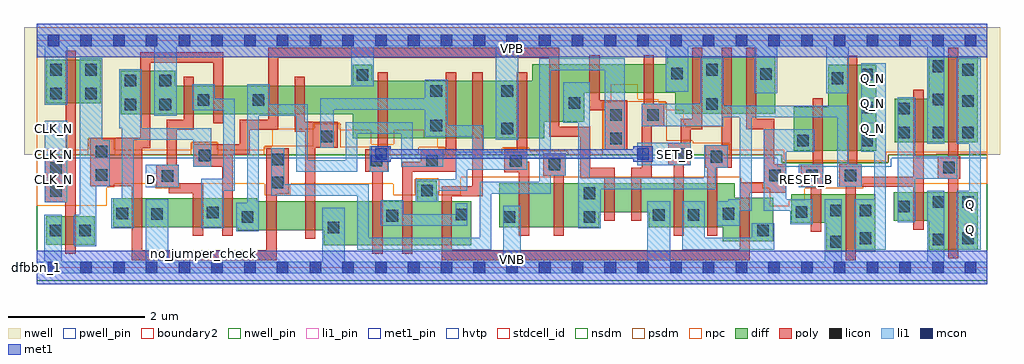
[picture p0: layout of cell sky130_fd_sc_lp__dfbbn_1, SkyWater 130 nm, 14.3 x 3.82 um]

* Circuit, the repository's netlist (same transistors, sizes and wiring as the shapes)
* Copyright 2020 The SkyWater PDK Authors
*
* Licensed under the Apache License, Version 2.0 (the "License");
* you may not use this file except in compliance with the License.
* You may obtain a copy of the License at
*
*     https://www.apache.org/licenses/LICENSE-2.0
*
* Unless required by applicable law or agreed to in writing, software
* distributed under the License is distributed on an "AS IS" BASIS,
* WITHOUT WARRANTIES OR CONDITIONS OF ANY KIND, either express or implied.
* See the License for the specific language governing permissions and
* limitations under the License.
*
* SPDX-License-Identifier: Apache-2.0

.SUBCKT sky130_fd_sc_lp__dfbbn_1 CLK_N D RESET_B SET_B VGND VNB VPB VPWR Q Q_N
*.PININFO CLK_N:I D:I RESET_B:I SET_B:I VGND:I VNB:I VPB:I VPWR:I Q:O
*.PININFO Q_N:O
MI46 clkneg clkpos VGND VNB sky130_fd_pr__nfet_01v8 m=1 w=0.42U l=0.15U mult=1
+ sa=0.265 sb=0.265 sd=0.28 area=0.063 perim=1.14
MI659 db D VGND VNB sky130_fd_pr__nfet_01v8 m=1 w=0.42U l=0.15U mult=1 sa=0.265
+ sb=0.265 sd=0.28 area=0.063 perim=1.14
MI642 RESET RESET_B VGND VNB sky130_fd_pr__nfet_01v8 m=1 w=0.42U l=0.15U mult=1
+ sa=0.265 sb=0.265 sd=0.28 area=0.063 perim=1.14
MI676 M1 M0 net141 VNB sky130_fd_pr__nfet_01v8 m=1 w=0.64U l=0.15U mult=1 sa=0.265
+ sb=0.265 sd=0.28 area=0.063 perim=1.14
MI675 net141 SET_B VGND VNB sky130_fd_pr__nfet_01v8 m=1 w=0.64U l=0.15U mult=1
+ sa=0.265 sb=0.265 sd=0.28 area=0.063 perim=1.14
MI653 Q net162 VGND VNB sky130_fd_pr__nfet_01v8 m=1 w=0.84U l=0.15U mult=1 sa=0.265
+ sb=0.265 sd=0.28 area=0.063 perim=1.14
MI677 M1 RESET net141 VNB sky130_fd_pr__nfet_01v8 m=1 w=0.64U l=0.15U mult=1 sa=0.265
+ sb=0.265 sd=0.28 area=0.063 perim=1.14
MI648 M0 clkpos net118 VNB sky130_fd_pr__nfet_01v8 m=1 w=0.42U l=0.15U mult=1 sa=0.265
+ sb=0.265 sd=0.28 area=0.063 perim=1.14
MI44 clkpos CLK_N VGND VNB sky130_fd_pr__nfet_01v8 m=1 w=0.42U l=0.15U mult=1 sa=0.265
+ sb=0.265 sd=0.28 area=0.063 perim=1.14
MI649 net118 M1 VGND VNB sky130_fd_pr__nfet_01v8 m=1 w=0.42U l=0.15U mult=1 sa=0.265
+ sb=0.265 sd=0.28 area=0.063 perim=1.14
MI655 S0 clkneg net110 VNB sky130_fd_pr__nfet_01v8 m=1 w=0.42U l=0.15U mult=1 sa=0.265
+ sb=0.265 sd=0.28 area=0.063 perim=1.14
MI654 net110 net82 VGND VNB sky130_fd_pr__nfet_01v8 m=1 w=0.42U l=0.15U mult=1
+ sa=0.265 sb=0.265 sd=0.28 area=0.063 perim=1.14
MI651 Q_N net82 VGND VNB sky130_fd_pr__nfet_01v8 m=1 w=0.84U l=0.15U mult=1 sa=0.265
+ sb=0.265 sd=0.28 area=0.063 perim=1.14
MI652 net162 net82 VGND VNB sky130_fd_pr__nfet_01v8 m=1 w=0.42U l=0.15U mult=1
+ sa=0.265 sb=0.265 sd=0.28 area=0.063 perim=1.14
MI42 db clkneg M0 VNB sky130_fd_pr__nfet_01v8 m=1 w=0.42U l=0.15U mult=1 sa=0.265
+ sb=0.265 sd=0.28 area=0.063 perim=1.14
MI668 S0 clkpos net93 VNB sky130_fd_pr__nfet_01v8 m=1 w=0.64U l=0.15U mult=1 sa=0.265
+ sb=0.265 sd=0.28 area=0.063 perim=1.14
MI667 net93 M1 VGND VNB sky130_fd_pr__nfet_01v8 m=1 w=0.64U l=0.15U mult=1 sa=0.265
+ sb=0.265 sd=0.28 area=0.063 perim=1.14
MI630 net82 RESET net81 VNB sky130_fd_pr__nfet_01v8 m=1 w=0.64U l=0.15U mult=1
+ sa=0.265 sb=0.265 sd=0.28 area=0.063 perim=1.14
MI3 net82 S0 net81 VNB sky130_fd_pr__nfet_01v8 m=1 w=0.64U l=0.15U mult=1 sa=0.265
+ sb=0.265 sd=0.28 area=0.063 perim=1.14
MI7 net81 SET_B VGND VNB sky130_fd_pr__nfet_01v8 m=1 w=0.64U l=0.15U mult=1 sa=0.265
+ sb=0.265 sd=0.28 area=0.063 perim=1.14
MI679 M1 SET_B VPWR VPB sky130_fd_pr__pfet_01v8_hvt m=1 w=0.84U l=0.15U mult=1
+ sa=0.265 sb=0.265 sd=0.28 area=0.063 perim=1.14
MI669 S0 clkneg net218 VPB sky130_fd_pr__pfet_01v8_hvt m=1 w=0.84U l=0.15U mult=1
+ sa=0.265 sb=0.265 sd=0.28 area=0.063 perim=1.14
MI660 Q net162 VPWR VPB sky130_fd_pr__pfet_01v8_hvt m=1 w=1.26U l=0.15U mult=1
+ sa=0.265 sb=0.265 sd=0.28 area=0.063 perim=1.14
MI9 net82 S0 net221 VPB sky130_fd_pr__pfet_01v8_hvt m=1 w=0.84U l=0.15U mult=1
+ sa=0.265 sb=0.265 sd=0.28 area=0.063 perim=1.14
MI670 net218 M1 VPWR VPB sky130_fd_pr__pfet_01v8_hvt m=1 w=0.84U l=0.15U mult=1
+ sa=0.265 sb=0.265 sd=0.28 area=0.063 perim=1.14
MI678 net165 RESET VPWR VPB sky130_fd_pr__pfet_01v8_hvt m=1 w=0.84U l=0.15U mult=1
+ sa=0.265 sb=0.265 sd=0.28 area=0.063 perim=1.14
MI662 net210 net82 VPWR VPB sky130_fd_pr__pfet_01v8_hvt m=1 w=0.42U l=0.15U mult=1
+ sa=0.265 sb=0.265 sd=0.28 area=0.063 perim=1.14
MI664 S0 clkpos net210 VPB sky130_fd_pr__pfet_01v8_hvt m=1 w=0.42U l=0.15U mult=1
+ sa=0.265 sb=0.265 sd=0.28 area=0.063 perim=1.14
MI10 net82 SET_B VPWR VPB sky130_fd_pr__pfet_01v8_hvt m=1 w=0.84U l=0.15U mult=1
+ sa=0.265 sb=0.265 sd=0.28 area=0.063 perim=1.14
MI11 net221 RESET VPWR VPB sky130_fd_pr__pfet_01v8_hvt m=1 w=0.84U l=0.15U mult=1
+ sa=0.265 sb=0.265 sd=0.28 area=0.063 perim=1.14
MI650 net194 M1 VPWR VPB sky130_fd_pr__pfet_01v8_hvt m=1 w=0.42U l=0.15U mult=1
+ sa=0.265 sb=0.265 sd=0.28 area=0.063 perim=1.14
MI665 db D VPWR VPB sky130_fd_pr__pfet_01v8_hvt m=1 w=0.42U l=0.15U mult=1 sa=0.265
+ sb=0.265 sd=0.28 area=0.063 perim=1.14
MI43 db clkpos M0 VPB sky130_fd_pr__pfet_01v8_hvt m=1 w=0.42U l=0.15U mult=1 sa=0.265
+ sb=0.265 sd=0.28 area=0.063 perim=1.14
MI656 M0 clkneg net194 VPB sky130_fd_pr__pfet_01v8_hvt m=1 w=0.42U l=0.15U mult=1
+ sa=0.265 sb=0.265 sd=0.28 area=0.063 perim=1.14
MI643 RESET RESET_B VPWR VPB sky130_fd_pr__pfet_01v8_hvt m=1 w=0.64U l=0.15U mult=1
+ sa=0.265 sb=0.265 sd=0.28 area=0.063 perim=1.14
MI47 clkneg clkpos VPWR VPB sky130_fd_pr__pfet_01v8_hvt m=1 w=0.64U l=0.15U mult=1
+ sa=0.265 sb=0.265 sd=0.28 area=0.063 perim=1.14
MI45 clkpos CLK_N VPWR VPB sky130_fd_pr__pfet_01v8_hvt m=1 w=0.64U l=0.15U mult=1
+ sa=0.265 sb=0.265 sd=0.28 area=0.063 perim=1.14
MI680 M1 M0 net165 VPB sky130_fd_pr__pfet_01v8_hvt m=1 w=0.84U l=0.15U mult=1 sa=0.265
+ sb=0.265 sd=0.28 area=0.063 perim=1.14
MI663 net162 net82 VPWR VPB sky130_fd_pr__pfet_01v8_hvt m=1 w=0.64U l=0.15U mult=1
+ sa=0.265 sb=0.265 sd=0.28 area=0.063 perim=1.14
MI661 Q_N net82 VPWR VPB sky130_fd_pr__pfet_01v8_hvt m=1 w=1.26U l=0.15U mult=1
+ sa=0.265 sb=0.265 sd=0.28 area=0.063 perim=1.14
.ENDS sky130_fd_sc_lp__dfbbn_1

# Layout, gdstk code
import gdstk
lib = gdstk.Library(unit=1e-6, precision=1e-09)
def R(c, l, rs):  # rectangles x0, y0, x1, y1
    for r in rs: c.add(gdstk.rectangle(r[:2], r[2:], *l))
def A(c, l, x, y, w, h, nx, ny, dx, dy):  # array of equal rectangles
    R(c, l, [(x+i*dx, y+j*dy, x+i*dx+w, y+j*dy+h) for i in range(nx) for j in range(ny)])
def P(c, l, *ps):  # polygons
    for p in ps: c.add(gdstk.Polygon(p, *l))
nwell_pin = (64, 16)
nwell = (64, 20)
diff = (65, 20)
poly = (66, 20)
licon = (66, 44)
li1_pin = (67, 16)
li1 = (67, 20)
mcon = (67, 44)
met1_pin = (68, 16)
met1 = (68, 20)
hvtp = (78, 44)
stdcell_id = (81, 4)
nsdm = (93, 44)
psdm = (94, 20)
npc = (95, 20)
pwell_pin = (122, 16)
boundary2 = (236, 0)

sky130_fd_sc_lp__dfbbn_1 = lib.new_cell('sky130_fd_sc_lp__dfbbn_1')
R(sky130_fd_sc_lp__dfbbn_1, nwell_pin, [(0,3.085,13.92,3.33)])
P(sky130_fd_sc_lp__dfbbn_1, nwell, [(14.11,3.52),(-0.19,3.52),(-0.19,1.655),(10.91,1.655),(10.91,1.535),(12.475,1.535),(12.475,1.655),(14.11,1.655)])
R(sky130_fd_sc_lp__dfbbn_1, diff, [(0.135,0.335,0.845,0.755), (0.135,2.405,0.935,3.045)])
P(sky130_fd_sc_lp__dfbbn_1, diff, [(6.365,0.97),(5.855,0.97),(5.855,1.275),(5.575,1.275),(5.575,0.97),(3.23,0.97),(3.23,1.015),(1.115,1.015),(1.115,0.595),(2.94,0.595),(2.94,0.55),(4.2,0.55),(4.2,0.33),(6.365,0.33)],
  [(10.785,1.025),(10.22,1.025),(10.22,1.235),(6.775,1.235),(6.775,0.595),(8.24,0.595),(8.24,0.815),(8.965,0.815),(8.965,0.595),(10.045,0.595),(10.045,0.385),(10.785,0.385)],
  [(10.82,3.095),(9.235,3.095),(9.235,2.98),(7.255,2.98),(7.255,2.735),(4.915,2.735),(4.915,2.97),(4.625,2.97),(4.625,2.665),(2.025,2.665),(2.025,2.885),(1.225,2.885),(1.225,2.245),(4.625,2.245),(4.625,1.895),(7.43,1.895),(7.43,2.14),(8.02,2.14),(8.02,2.56),(9.35,2.56),(9.35,2.255),(10.82,2.255)],
  [(12.285,1.075),(11.055,1.075),(11.055,0.655),(11.565,0.655),(11.565,0.235),(12.285,0.235)],
  [(12.295,2.975),(11.59,2.975),(11.59,2.355),(11.09,2.355),(11.09,1.715),(12.295,1.715)],
  [(13.785,3.095),(13.065,3.095),(13.065,2.475),(12.565,2.475),(12.565,1.835),(13.785,1.835)],
  [(13.785,1.105),(12.555,1.105),(12.555,0.685),(13.065,0.685),(13.065,0.265),(13.785,0.265)])
P(sky130_fd_sc_lp__dfbbn_1, poly, [(0.57,3.175),(0.42,3.175),(0.42,1.625),(0.115,1.625),(0.115,0.955),(0.415,0.955),(0.415,0.205),(0.565,0.205),(0.565,0.955),(0.57,0.955)],
  [(2.435,1.24),(2.08,1.24),(2.08,1.51),(2.05,1.51),(2.05,2.02),(2.3,2.02),(2.3,2.795),(2.15,2.795),(2.15,2.17),(1.9,2.17),(1.9,1.51),(1.75,1.51),(1.75,1.18),(1.93,1.18),(1.93,1.09),(2.285,1.09),(2.285,0.465),(2.435,0.465)],
  [(3.69,1.75),(3.36,1.75),(3.36,0.255),(1.54,0.255),(1.54,1.75),(1.66,1.75),(1.66,3.005),(2.58,3.005),(2.58,2.115),(2.73,2.115),(2.73,3.155),(1.51,3.155),(1.51,1.9),(0.78,1.9),(0.78,1.195),(1.39,1.195),(1.39,0.105),(3.51,0.105),(3.51,1.08),(3.69,1.08)],
  [(4.41,2.14),(3.925,2.14),(3.925,2.795),(3.775,2.795),(3.775,1.99),(3.93,1.99),(3.93,0.42),(4.08,0.42),(4.08,1.755),(4.41,1.755)],
  [(5.14,2.865),(4.99,2.865),(4.99,1.735),(4.81,1.735),(4.81,1.405),(4.915,1.405),(4.915,0.2),(5.065,0.2),(5.065,1.405),(5.14,1.405)],
  [(6.14,2.865),(5.99,2.865),(5.99,1.735),(5.625,1.735),(5.625,1.555),(5.35,1.555),(5.35,0.2),(5.5,0.2),(5.5,1.405),(6.14,1.405)],
  [(7.21,1.55),(7.18,1.55),(7.18,2.865),(7.03,2.865),(7.03,1.73),(6.85,1.73),(6.85,1.4),(7.06,1.4),(7.06,0.465),(7.21,0.465)],
  [(7.75,1.675),(7.42,1.675),(7.42,1.345),(7.57,1.345),(7.57,0.465),(7.72,0.465),(7.72,1.345),(7.75,1.345)],
  [(8.465,1.46),(8.11,1.46),(8.11,2.065),(7.655,2.065),(7.655,3.225),(3.385,3.225),(3.385,2.17),(2.97,2.17),(2.97,1.81),(2.29,1.81),(2.29,1.48),(2.715,1.48),(2.715,0.465),(2.865,0.465),(2.865,1.66),(3.12,1.66),(3.12,2.02),(3.535,2.02),(3.535,3.075),(7.505,3.075),(7.505,1.915),(7.96,1.915),(7.96,1.31),(8.315,1.31),(8.315,0.685),(8.465,0.685)],
  [(8.65,2.455),(8.245,2.455),(8.245,3.11),(8.095,3.11),(8.095,2.305),(8.32,2.305),(8.32,1.73),(8.65,1.73)],
  [(9.19,2.4),(9.04,2.4),(9.04,3.11),(8.89,3.11),(8.89,2.4),(8.86,2.4),(8.86,1.46),(8.705,1.46),(8.705,0.685),(8.855,0.685),(8.855,1.31),(9.01,1.31),(9.01,2.07),(9.19,2.07)],
  [(9.75,3.225),(9.6,3.225),(9.6,2.18),(9.43,2.18),(9.43,1.83),(9.25,1.83),(9.25,1.5),(9.33,1.5),(9.33,0.465),(9.48,0.465),(9.48,1.5),(9.58,1.5),(9.58,2.03),(9.75,2.03)],
  [(10.18,3.225),(10.03,3.225),(10.03,1.79),(9.79,1.79),(9.79,1.46),(9.82,1.46),(9.82,0.465),(9.97,0.465),(9.97,1.46),(10.18,1.46)],
  [(10.98,1.515),(10.8,1.515),(10.8,2.18),(10.54,2.18),(10.54,3.225),(10.39,3.225),(10.39,2.03),(10.65,2.03),(10.65,1.25),(10.295,1.25),(10.295,0.255),(6.08,0.255),(6.08,1.045),(6.53,1.045),(6.53,2.865),(6.38,2.865),(6.38,1.195),(5.93,1.195),(5.93,0.105),(10.445,0.105),(10.445,1.1),(10.98,1.1)],
  [(11.52,1.515),(11.515,1.515),(11.515,2.485),(11.365,2.485),(11.365,1.515),(11.19,1.515),(11.19,1.185),(11.34,1.185),(11.34,0.525),(11.49,0.525),(11.49,1.185),(11.52,1.185)],
  [(12.99,2.605),(12.84,2.605),(12.84,1.335),(12.085,1.335),(12.085,1.515),(12.02,1.515),(12.02,3.105),(11.87,3.105),(11.87,1.515),(11.755,1.515),(11.755,1.185),(11.85,1.185),(11.85,0.105),(12,0.105),(12,1.185),(12.84,1.185),(12.84,0.555),(12.99,0.555)],
  [(13.53,1.635),(13.5,1.635),(13.5,3.225),(13.35,3.225),(13.35,1.635),(13.2,1.635),(13.2,1.305),(13.35,1.305),(13.35,0.135),(13.5,0.135),(13.5,1.305),(13.53,1.305)])
A(sky130_fd_sc_lp__dfbbn_1, licon, 12.075, 1.775, 0.17, 0.17, 1, 3, 0, 0.485)
A(sky130_fd_sc_lp__dfbbn_1, licon, 13.125, 1.895, 0.17, 0.17, 1, 3, 0, 0.485)
A(sky130_fd_sc_lp__dfbbn_1, licon, 13.555, 1.895, 0.17, 0.17, 1, 3, 0, 0.46)
R(sky130_fd_sc_lp__dfbbn_1, licon, [(11.625,0.295,11.795,0.465), (13.125,0.325,13.295,0.495), (12.055,0.345,12.225,0.515), (13.555,0.345,13.725,0.515), (0.19,0.46,0.36,0.63), (0.62,0.46,0.79,0.63), (10.555,0.46,10.725,0.63), (4.26,0.505,4.43,0.675), (3,0.655,3.17,0.825), (6.835,0.655,7.005,0.825), (8.01,0.655,8.18,0.825), (5.12,0.675,5.29,0.845), (9.025,0.685,9.195,0.855), (9.535,0.685,9.705,0.855), (6.135,0.695,6.305,0.865), (1.675,0.7,1.845,0.87), (10.045,0.705,10.215,0.875), (1.165,0.71,1.335,0.88), (2.49,0.72,2.66,0.89), (11.115,0.73,11.285,0.9), (11.625,0.75,11.795,0.92), (12.055,0.755,12.225,0.925), (12.615,0.81,12.785,0.98), (13.125,0.875,13.295,1.045), (13.555,0.875,13.725,1.045), (8.01,1.005,8.18,1.175), (0.195,1.035,0.365,1.205), (5.63,1.045,5.8,1.215), (3.44,1.16,3.61,1.33), (1.83,1.26,2,1.43), (10.73,1.265,10.9,1.435), (11.27,1.265,11.44,1.435), (11.835,1.265,12.005,1.435), (0.86,1.275,1.03,1.445), (0.195,1.375,0.365,1.545), (13.28,1.385,13.45,1.555), (7.5,1.425,7.67,1.595), (6.93,1.48,7.1,1.65), (4.89,1.485,5.06,1.655), (5.705,1.485,5.875,1.655), (3.44,1.5,3.61,1.67), (9.87,1.54,10.04,1.71), (2.37,1.56,2.54,1.73), (9.33,1.58,9.5,1.75), (0.86,1.615,1.03,1.785), (11.14,1.775,11.31,1.945), (8.4,1.81,8.57,1.98), (4.16,1.835,4.33,2.005), (12.615,1.895,12.785,2.065), (6.805,1.955,6.975,2.125), (5.765,1.995,5.935,2.165), (8.4,2.15,8.57,2.32), (8.94,2.15,9.11,2.32), (12.615,2.245,12.785,2.415), (1.285,2.305,1.455,2.475), (1.795,2.305,1.965,2.475), (9.805,2.315,9.975,2.485), (7.79,2.33,7.96,2.5), (2.355,2.37,2.525,2.54), (3.16,2.37,3.33,2.54), (0.195,2.465,0.365,2.635), (0.705,2.465,0.875,2.635), (5.765,2.505,5.935,2.675), (6.805,2.505,6.975,2.675), (1.285,2.655,1.455,2.825), (1.795,2.655,1.965,2.825), (11.645,2.69,11.815,2.86), (4.685,2.74,4.855,2.91), (10.595,2.75,10.765,2.92), (9.295,2.76,9.465,2.93), (0.195,2.815,0.365,2.985), (0.705,2.815,0.875,2.985), (9.805,2.815,9.975,2.985)])
A(sky130_fd_sc_lp__dfbbn_1, li1_pin, 0.155, 1.21, 0.17, 0.17, 1, 3, 0, 0.37)
A(sky130_fd_sc_lp__dfbbn_1, li1_pin, 12.155, 1.95, 0.17, 0.17, 1, 3, 0, 0.37)
R(sky130_fd_sc_lp__dfbbn_1, li1_pin, [(13.595,0.47,13.765,0.64), (13.595,0.84,13.765,1.01), (1.595,1.21,1.765,1.38), (11.195,1.21,11.365,1.38), (9.275,1.58,9.445,1.75)])
R(sky130_fd_sc_lp__dfbbn_1, li1, [(0.115,0.955,0.445,2.15), (1.595,1.18,2.08,1.51), (11.165,1.18,11.52,1.515), (4.875,1.405,5.155,1.78), (8.795,1.5,9.58,1.83)])
P(sky130_fd_sc_lp__dfbbn_1, li1, [(0.115,2.385),(0.115,3.245),(0,3.245),(0,3.415),(13.92,3.415),(13.92,3.245),(13.295,3.245),(13.295,1.815),(13.045,1.815),(13.045,3.245),(11.895,3.245),(11.895,2.555),(11.565,2.555),(11.565,3.245),(10.845,3.245),(10.845,2.555),(10.515,2.555),(10.515,3.245),(9.545,3.245),(9.545,2.58),(9.215,2.58),(9.215,3.245),(7.055,3.245),(7.055,1.875),(6.725,1.875),(6.725,3.245),(4.935,3.245),(4.935,2.66),(4.605,2.66),(4.605,3.245),(2.045,3.245),(2.045,2.225),(1.715,2.225),(1.715,3.245),(0.445,3.245),(0.445,2.385)],
  [(6.835,0.085),(6.835,0.905),(7.085,0.905),(7.085,0.085),(8.945,0.085),(8.945,0.97),(9.275,0.97),(9.275,0.085),(11.545,0.085),(11.545,1),(11.795,1),(11.795,0.085),(13.045,0.085),(13.045,1.125),(13.295,1.125),(13.295,0.085),(13.92,0.085),(13.92,-0.085),(0,-0.085),(0,0.085),(0.11,0.085),(0.11,0.775),(0.36,0.775),(0.36,0.085),(1.595,0.085),(1.595,1),(1.925,1),(1.925,0.085),(4.18,0.085),(4.18,0.875),(4.51,0.875),(4.51,0.085)],
  [(8.615,3.065),(8.615,1.73),(8.32,1.73),(8.32,2.895),(7.53,2.895),(7.53,1.675),(7.75,1.675),(7.75,1.345),(7.53,1.345),(7.53,1.085),(6.655,1.085),(6.655,0.265),(4.69,0.265),(4.69,1.055),(3.43,1.055),(3.43,1.75),(3.62,1.75),(3.62,1.225),(4.86,1.225),(4.86,0.435),(6.485,0.435),(6.485,1.255),(7.36,1.255),(7.36,3.065)],
  [(0.625,3.065),(0.955,3.065),(0.955,1.865),(1.065,1.865),(1.065,1.195),(0.87,1.195),(0.87,0.315),(0.54,0.315),(0.54,0.775),(0.625,0.775)],
  [(12.865,1.305),(12.865,0.665),(12.615,0.665),(12.615,2.495),(12.865,2.495),(12.865,1.635),(13.48,1.635),(13.48,1.305)],
  [(12.075,1.695),(12.075,2.995),(12.435,2.995),(12.435,0.265),(11.975,0.265),(11.975,1.005),(12.265,1.005),(12.265,1.695)],
  [(13.475,0.265),(13.475,1.125),(13.66,1.125),(13.66,1.815),(13.475,1.815),(13.475,3.065),(13.83,3.065),(13.83,0.265)],
  [(1.245,2.045),(1.205,2.045),(1.205,2.905),(1.535,2.905),(1.535,2.045),(2.55,2.045),(2.55,1.48),(2.29,1.48),(2.29,1.875),(1.415,1.875),(1.415,0.575),(1.085,0.575),(1.085,1.015),(1.245,1.015)],
  [(2.605,2.475),(2.9,2.475),(2.9,1.13),(2.74,1.13),(2.74,0.575),(2.41,0.575),(2.41,1.3),(2.73,1.3),(2.73,2.305),(2.275,2.305),(2.275,2.685),(2.605,2.685)],
  [(10.055,2.375),(11.895,2.375),(11.895,1.515),(12.085,1.515),(12.085,1.185),(11.725,1.185),(11.725,2.205),(10.47,2.205),(10.47,0.83),(10.295,0.83),(10.295,0.615),(9.965,0.615),(9.965,0.97),(10.125,0.97),(10.125,1),(10.3,1),(10.3,2.205),(10.055,2.205),(10.055,2.07),(8.86,2.07),(8.86,2.4),(9.725,2.4),(9.725,3.065),(10.055,3.065)],
  [(10.65,0.83),(10.65,2.025),(11.39,2.025),(11.39,1.695),(10.98,1.695),(10.98,1),(11.365,1),(11.365,0.635),(11.035,0.635),(11.035,0.83)],
  [(6.135,1.295),(6.135,1.695),(6.375,1.695),(6.375,1.915),(5.685,1.915),(5.685,2.31),(4.345,2.31),(4.345,1.755),(4.15,1.755),(4.15,2.48),(5.685,2.48),(5.685,2.755),(6.015,2.755),(6.015,2.085),(6.545,2.085),(6.545,1.695),(7.18,1.695),(7.18,1.435),(6.305,1.435),(6.305,1.125),(5.88,1.125),(5.88,0.965),(5.55,0.965),(5.55,1.295)],
  [(3.8,1.405),(3.8,2.225),(3.25,2.225),(3.25,0.53),(2.92,0.53),(2.92,0.95),(3.08,0.95),(3.08,2.685),(3.41,2.685),(3.41,2.395),(3.97,2.395),(3.97,1.575),(4.525,1.575),(4.525,2.13),(5.505,2.13),(5.505,1.735),(5.955,1.735),(5.955,1.475),(5.335,1.475),(5.335,1.96),(4.695,1.96),(4.695,1.405)],
  [(7.71,2.12),(7.71,2.715),(8.1,2.715),(8.1,1.32),(9.775,1.32),(9.775,1.79),(10.12,1.79),(10.12,1.46),(9.945,1.46),(9.945,1.15),(8.26,1.15),(8.26,0.575),(7.93,0.575),(7.93,2.12)],
  [(6.135,0.785),(6.135,0.945),(6.305,0.945),(6.305,0.615),(5.04,0.615),(5.04,0.99),(5.37,0.99),(5.37,0.785)],
  [(9.455,0.265),(9.455,0.97),(9.785,0.97),(9.785,0.435),(10.475,0.435),(10.475,0.65),(10.805,0.65),(10.805,0.265)])
A(sky130_fd_sc_lp__dfbbn_1, mcon, 0.155, -0.085, 0.17, 0.17, 29, 2, 0.48, 3.33)
R(sky130_fd_sc_lp__dfbbn_1, mcon, [(4.955,1.58,5.125,1.75), (8.795,1.58,8.965,1.75)])
R(sky130_fd_sc_lp__dfbbn_1, met1_pin, [(0,0,13.92,0.245), (0,3.085,13.92,3.33)])
R(sky130_fd_sc_lp__dfbbn_1, met1, [(0,-0.245,13.92,0.245), (0,3.085,13.92,3.575)])
P(sky130_fd_sc_lp__dfbbn_1, met1, [(4.895,1.55),(4.895,1.78),(5.185,1.78),(5.185,1.735),(8.735,1.735),(8.735,1.78),(9.025,1.78),(9.025,1.55),(8.735,1.55),(8.735,1.595),(5.185,1.595),(5.185,1.55)])
R(sky130_fd_sc_lp__dfbbn_1, hvtp, [(10.85,1.48,12.515,1.6), (0,1.6,13.92,3.33)])
R(sky130_fd_sc_lp__dfbbn_1, stdcell_id, [(0,0,13.92,3.33)])
P(sky130_fd_sc_lp__dfbbn_1, nsdm, [(13.92,1.655),(12.475,1.655),(12.475,1.535),(10.91,1.535),(10.91,1.655),(0,1.655),(0,-0.19),(13.92,-0.19)])
P(sky130_fd_sc_lp__dfbbn_1, psdm, [(13.92,3.52),(0,3.52),(0,1.655),(0.75,1.655),(0.75,1.895),(1.14,1.895),(1.14,1.655),(2.26,1.655),(2.26,1.84),(2.65,1.84),(2.65,1.655),(3.33,1.655),(3.33,1.78),(4.05,1.78),(4.05,2.115),(4.44,2.115),(4.44,1.765),(5.17,1.765),(5.17,1.655),(5.595,1.655),(5.595,1.765),(5.985,1.765),(5.985,1.655),(6.82,1.655),(6.82,1.76),(7.21,1.76),(7.21,1.705),(7.78,1.705),(7.78,1.655),(8.29,1.655),(8.29,2.43),(9.22,2.43),(9.22,1.86),(9.61,1.86),(9.61,1.82),(10.15,1.82),(10.15,1.655),(10.91,1.655),(10.91,1.545),(12.475,1.545),(12.475,1.655),(13.17,1.655),(13.17,1.665),(13.92,1.665)])
P(sky130_fd_sc_lp__dfbbn_1, npc, [(13.92,1.695),(12.435,1.695),(12.435,1.575),(10.95,1.575),(10.95,1.73),(10.14,1.73),(10.14,1.81),(10.035,1.81),(10.035,2.075),(9.495,2.075),(9.495,2.115),(9.475,2.115),(9.475,2.315),(9.21,2.315),(9.21,2.42),(9.105,2.42),(9.105,2.47),(8.8,2.47),(8.8,2.685),(8.405,2.685),(8.405,2.42),(8.3,2.42),(8.3,1.73),(7.2,1.73),(7.2,1.75),(6.83,1.75),(6.83,1.73),(5.975,1.73),(5.975,1.755),(5.87,1.755),(5.87,1.905),(5.675,1.905),(5.675,2.02),(5.23,2.02),(5.23,1.805),(4.9,1.805),(4.9,2.02),(4.43,2.02),(4.43,2.105),(4.06,2.105),(4.06,2.035),(3.445,2.035),(3.445,1.77),(3.34,1.77),(3.34,1.73),(2.64,1.73),(2.64,1.83),(2.27,1.83),(2.27,1.73),(1.13,1.73),(1.13,1.885),(0.76,1.885),(0.76,1.73),(0,1.73),(0,0.91),(1.025,0.91),(1.025,1.175),(1.13,1.175),(1.13,1.23),(1.73,1.23),(1.73,1.16),(2.1,1.16),(2.1,1.23),(3.34,1.23),(3.34,1.06),(3.71,1.06),(3.71,1.23),(5.22,1.23),(5.22,1.06),(5.54,1.06),(5.54,1.305),(5.89,1.305),(5.89,1.06),(6.21,1.06),(6.21,1.325),(10.31,1.325),(10.31,1.23),(10.63,1.23),(10.63,1.165),(10.735,1.165),(10.735,0.9),(11.025,0.9),(11.025,0.99),(11.25,0.99),(11.25,1.165),(12.105,1.165),(12.105,1.23),(13.92,1.23)])
R(sky130_fd_sc_lp__dfbbn_1, pwell_pin, [(0,0,13.92,0.245)])
R(sky130_fd_sc_lp__dfbbn_1, boundary2, [(0,0,13.92,3.33)])
sky130_fd_sc_lp__dfbbn_1.add(gdstk.Label('VNB', (6.96,0.123), layer=64, texttype=59))
sky130_fd_sc_lp__dfbbn_1.add(gdstk.Label('VPB', (6.96,3.208), layer=64, texttype=5))
sky130_fd_sc_lp__dfbbn_1.add(gdstk.Label('dfbbn_1', (0,0), layer=83, texttype=44))
sky130_fd_sc_lp__dfbbn_1.add(gdstk.Label('no_jumper_check', (2.44,0.2), layer=83, texttype=44))
sky130_fd_sc_lp__dfbbn_1.add(gdstk.Label('VPWR', (6.96,3.208), layer=68, texttype=5))
sky130_fd_sc_lp__dfbbn_1.add(gdstk.Label('VGND', (6.96,0.123), layer=68, texttype=5))
sky130_fd_sc_lp__dfbbn_1.add(gdstk.Label('Q_N', (12.24,2.035), layer=67, texttype=5))
sky130_fd_sc_lp__dfbbn_1.add(gdstk.Label('Q_N', (12.24,2.405), layer=67, texttype=5))
sky130_fd_sc_lp__dfbbn_1.add(gdstk.Label('Q_N', (12.24,2.775), layer=67, texttype=5))
sky130_fd_sc_lp__dfbbn_1.add(gdstk.Label('CLK_N', (0.24,1.295), layer=67, texttype=5))
sky130_fd_sc_lp__dfbbn_1.add(gdstk.Label('CLK_N', (0.24,1.665), layer=67, texttype=5))
sky130_fd_sc_lp__dfbbn_1.add(gdstk.Label('CLK_N', (0.24,2.035), layer=67, texttype=5))
sky130_fd_sc_lp__dfbbn_1.add(gdstk.Label('Q', (13.68,0.555), layer=67, texttype=5))
sky130_fd_sc_lp__dfbbn_1.add(gdstk.Label('Q', (13.68,0.925), layer=67, texttype=5))
sky130_fd_sc_lp__dfbbn_1.add(gdstk.Label('RESET_B', (11.28,1.295), layer=67, texttype=5))
sky130_fd_sc_lp__dfbbn_1.add(gdstk.Label('D', (1.68,1.295), layer=67, texttype=5))
sky130_fd_sc_lp__dfbbn_1.add(gdstk.Label('SET_B', (9.36,1.665), layer=67, texttype=5))

lib.write_gds('sky130_fd_sc_lp__dfbbn_1.gds')
